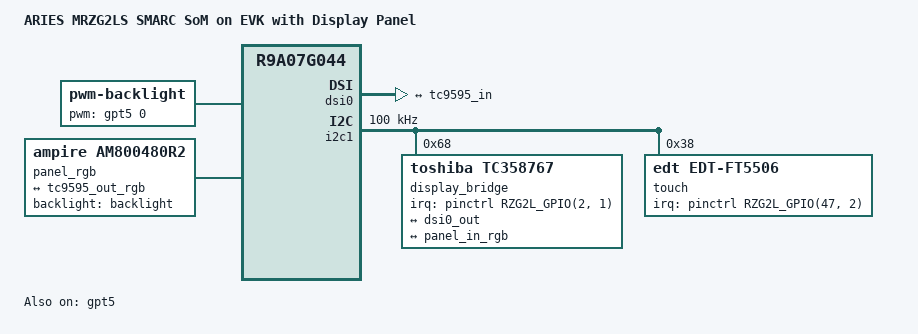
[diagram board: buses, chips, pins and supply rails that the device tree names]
// SPDX-License-Identifier: GPL-2.0
/*
 * Device Tree Source for the MRZG2LS Single A55 SMARC SOM/CARRIER
 *
 * Copyright (C) 2021 Renesas Electronics Corp.
 * Copyright (C) 2023 ARIES Embedded
 */

/dts-v1/;
#include "../renesas/r9a07g044l2.dtsi"
#include "mrzg2ls-som.dtsi"
#include "mrzg2ls-pinfunction.dtsi"
#include "msrz-smarc-common.dtsi"
#include "mrzg2ls.dtsi"

/ {
	model = "ARIES MRZG2LS SMARC SoM on EVK with Display Panel";
	compatible = "aries,msrz2gls", "renesas,r9a07g044l2", "renesas,r9a07g044";

        backlight: backlight {
                compatible = "pwm-backlight";
		pinctrl-0 = <&bl_pins>;
		pinctrl-names = "default";
                pwms = <&gpt5 0 50000>;
                brightness-levels = <0 2 8 16 32 64 128 255>;
                default-brightness-level = <6>;
        };

	panel_rgb: panel-rgb {
		compatible = "ampire,am800480r2";
		backlight = <&backlight>;

		port {
			panel_in_rgb: endpoint {
				remote-endpoint = <&tc9595_out_rgb>;
			};
		};
	};
};

&dsi0 {
	status = "okay";

	ports {
		port@1 {
			dsi0_out: endpoint {
				remote-endpoint = <&tc9595_in>;
				data-lanes = <1 2 3 4>;
			};
		};
	};
};

&gpt5 {
	status = "okay";
	channel = "channel_A";
};

&i2c1 {
	pinctrl-0 = <&i2c1_pins>;
	pinctrl-names = "default";
	clock-frequency = <100000>;
	status = "okay";

	display_bridge: tc9595@68 {
		compatible = "toshiba,tc358767";
		reg = <0x68>;
		clock-names = "ref";
		clocks = <&tc9595_clk>;
		interrupt-parent = <&pinctrl>;
		interrupts = <RZG2L_GPIO(2, 1) IRQ_TYPE_LEVEL_HIGH>; /* P2_1 */
		data-lanes = <1 2 3 4>;
		toshiba,hpd-pin = <0>;
		status = "okay";

		ports {
	      		#address-cells = <1>;
			#size-cells = <0>;

			port@0 {
				reg = <0>;
				tc9595_in: endpoint {
					data-lanes = <1 2 3 4>;
					remote-endpoint = <&dsi0_out>;
				};
			};

			port@1 {
				reg = <1>;
				tc9595_out_rgb: endpoint {
					remote-endpoint = <&panel_in_rgb>;
				};
			};
		};
	};

	touch: ft5426@38 {
		compatible = "edt,edt-ft5506";
		reg = <0x38>;
		interrupt-parent = <&pinctrl>;
		interrupts = <RZG2L_GPIO(47, 2) IRQ_TYPE_EDGE_FALLING>; /* P47_2 */
		touchscreen-size-x = <800>;
		touchscreen-size-y = <480>;
		status = "okay";
	};
};

&pinctrl {
	bl_pins: bl {
		pinmux = <RZG2L_PORT_PINMUX(43, 2, 2)>; /* GPT5 */
	};
};

&vccq_sdhi1 {
	gpios = <&pinctrl RZG2L_GPIO(39, 1) GPIO_ACTIVE_HIGH>;
	regulator-boot-on;
	regulator-always-on;
};
